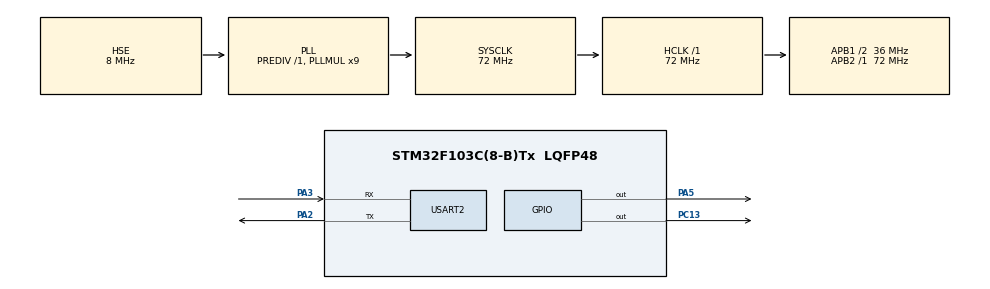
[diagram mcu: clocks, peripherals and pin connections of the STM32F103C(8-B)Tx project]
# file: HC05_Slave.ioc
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Mcu.Family=STM32F1
Mcu.Name=STM32F103C(8-B)Tx
Mcu.Package=LQFP48
NVIC.PriorityGroup=NVIC_PRIORITYGROUP_4
NVIC.TIM2_IRQn=true\:0\:0\:false\:false\:true\:true
NVIC.USART2_IRQn=true\:0\:0\:false\:false\:true\:true
PA13.Mode=Serial_Wire
PA13.Signal=SYS_JTMS-SWDIO
PA14.Mode=Serial_Wire
PA14.Signal=SYS_JTCK-SWCLK
PA2.Mode=Asynchronous
PA2.Signal=USART2_TX
PA3.Mode=Asynchronous
PA3.Signal=USART2_RX
PA5.Signal=GPIO_Output
PC13-TAMPER-RTC.Signal=GPIO_Output
PD0-OSC_IN.Mode=HSE-External-Oscillator
PD0-OSC_IN.Signal=RCC_OSC_IN
PD1-OSC_OUT.Mode=HSE-External-Oscillator
PD1-OSC_OUT.Signal=RCC_OSC_OUT
ProjectManager.HeapSize=0x400
ProjectManager.StackSize=0x800
ProjectManager.TargetToolchain=MDK-ARM V5
RCC.AHBFreq_Value=72000000
RCC.APB1CLKDivider=RCC_HCLK_DIV2
RCC.APB1Freq_Value=36000000
RCC.APB1TimFreq_Value=72000000
RCC.APB2Freq_Value=72000000
RCC.APB2TimFreq_Value=72000000
RCC.HCLKFreq_Value=72000000
RCC.PLLMUL=RCC_PLL_MUL9
RCC.PLLSourceVirtual=RCC_PLLSOURCE_HSE
RCC.SYSCLKFreq_VALUE=72000000
RCC.SYSCLKSource=RCC_SYSCLKSOURCE_PLLCLK
RCC.USBFreq_Value=72000000
TIM2.Period=4000
TIM2.Prescaler=35999
TIM2.TIM_MasterOutputTrigger=TIM_TRGO_UPDATE
USART2.VirtualMode=VM_ASYNC
VP_TIM2_VS_ClockSourceINT.Mode=Internal
board=HC05_Slave

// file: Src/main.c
/**
  ******************************************************************************
  * @file           : main.c
  * @brief          : Main program body
  ******************************************************************************
  ** This notice applies to any and all portions of this file
  * that are not between comment pairs USER CODE BEGIN and
  * USER CODE END. Other portions of this file, whether
  * inserted by the user or by software development tools
  * are owned by their respective copyright owners.
  *
  * COPYRIGHT(c) 2018 STMicroelectronics
  *
  * Redistribution and use in source and binary forms, with or without modification,
  * are permitted provided that the following conditions are met:
  *   1. Redistributions of source code must retain the above copyright notice,
  *      this list of conditions and the following disclaimer.
  *   2. Redistributions in binary form must reproduce the above copyright notice,
  *      this list of conditions and the following disclaimer in the documentation
  *      and/or other materials provided with the distribution.
  *   3. Neither the name of STMicroelectronics nor the names of its contributors
  *      may be used to endorse or promote products derived from this software
  *      without specific prior written permission.
  *
  * THIS SOFTWARE IS PROVIDED BY THE COPYRIGHT HOLDERS AND CONTRIBUTORS "AS IS"
  * AND ANY EXPRESS OR IMPLIED WARRANTIES, INCLUDING, BUT NOT LIMITED TO, THE
  * IMPLIED WARRANTIES OF MERCHANTABILITY AND FITNESS FOR A PARTICULAR PURPOSE ARE
  * DISCLAIMED. IN NO EVENT SHALL THE COPYRIGHT HOLDER OR CONTRIBUTORS BE LIABLE
  * FOR ANY DIRECT, INDIRECT, INCIDENTAL, SPECIAL, EXEMPLARY, OR CONSEQUENTIAL
  * DAMAGES (INCLUDING, BUT NOT LIMITED TO, PROCUREMENT OF SUBSTITUTE GOODS OR
  * SERVICES; LOSS OF USE, DATA, OR PROFITS; OR BUSINESS INTERRUPTION) HOWEVER
  * CAUSED AND ON ANY THEORY OF LIABILITY, WHETHER IN CONTRACT, STRICT LIABILITY,
  * OR TORT (INCLUDING NEGLIGENCE OR OTHERWISE) ARISING IN ANY WAY OUT OF THE USE
  * OF THIS SOFTWARE, EVEN IF ADVISED OF THE POSSIBILITY OF SUCH DAMAGE.
  *
  ******************************************************************************
  */
#include "main.h"
#include "stm32f1xx_hal.h"

TIM_HandleTypeDef htim2;

UART_HandleTypeDef huart2;

/* USER CODE BEGIN PV */
/* Private variables ---------------------------------------------------------*/
char str1[60]={0};
typedef struct
{
	uint8_t usart_buf[60];
	uint8_t usart_cnt;
	uint8_t is_tcp_connect;//статус проверки создания соединения
	uint8_t is_text;//статус попытки передать текст серверу
}USART_prop_ptr;

USART_prop_ptr usartprop;

uint8_t i=0;
char *str2[] =
{
  "String1\r\n",
  "String2\r\n",
  "String3\r\n",
  "String4\r\n",
  "String5\r\n"

};

/* USER CODE END PV */

void SystemClock_Config(void);
static void MX_GPIO_Init(void);
static void MX_USART2_UART_Init(void);
static void MX_TIM2_Init(void);

/* USER CODE BEGIN PFP */
/* Private function prototypes -----------------------------------------------*/

/* USER CODE END PFP */

/* USER CODE BEGIN 0 */
/***********************Функция парсинга строки**************/
void string_parse(char* buf_str)
{
  HAL_UART_Transmit(&huart2,(uint8_t*)buf_str,strlen(buf_str),0x1000);
  HAL_GPIO_TogglePin(GPIOC, GPIO_PIN_13);
}

/*******************Обработчик приема даннных*************/
void UART2_RxCpltCallback(void)
{
  uint8_t b;
  b = str1[0];
  //если вдруг случайно превысим длину буфера
  if (usartprop.usart_cnt>59)
  {
    usartprop.usart_cnt=0;//обнуляем счетчик байтов
    HAL_UART_Receive_IT(&huart2,(uint8_t*)str1,1);//прием данных
    return;
  }
  usartprop.usart_buf[usartprop.usart_cnt] = b;
  if(b==0x0A)
  {
    usartprop.usart_buf[usartprop.usart_cnt+1]=0;
    string_parse((char*)usartprop.usart_buf);//запускаем функцию парсинга принятой строки
    usartprop.usart_cnt=0;//обнуляем счетчик
    HAL_UART_Receive_IT(&huart2,(uint8_t*)str1,1);//Пнинимаем данные
    return;
  }
  usartprop.usart_cnt++;
  HAL_UART_Receive_IT(&huart2,(uint8_t*)str1,1);
}

/* USER CODE END 0 */

int main(void)
{

  /* MCU Configuration----------------------------------------------------------*/

  /* Reset of all peripherals, Initializes the Flash interface and the Systick. */
  HAL_Init();

  /* Configure the system clock */
  SystemClock_Config();

  /* Initialize all configured peripherals */
  MX_GPIO_Init();
  MX_USART2_UART_Init();
  MX_TIM2_Init();
  /* USER CODE BEGIN 2 */
	HAL_UART_Receive_IT(&huart2,(uint8_t*)str1,1);
	HAL_TIM_Base_Start_IT(&htim2);
  /* USER CODE END 2 */

  /* Infinite loop */
  /* USER CODE BEGIN WHILE */
  while (1)
  {

		char buf[20]="Hello World!!\r\n";
  /* USER CODE END WHILE */
		HAL_UART_Transmit(&huart2,(uint8_t*)buf,20,0x1000);
		HAL_Delay(1000);
  }

}

void SystemClock_Config(void)
{

  RCC_OscInitTypeDef RCC_OscInitStruct;
  RCC_ClkInitTypeDef RCC_ClkInitStruct;

    /**Initializes the CPU, AHB and APB busses clocks
    */
  RCC_OscInitStruct.OscillatorType = RCC_OSCILLATORTYPE_HSE;
  RCC_OscInitStruct.HSEState = RCC_HSE_ON;
  RCC_OscInitStruct.HSEPredivValue = RCC_HSE_PREDIV_DIV1;
  RCC_OscInitStruct.HSIState = RCC_HSI_ON;
  RCC_OscInitStruct.PLL.PLLState = RCC_PLL_ON;
  RCC_OscInitStruct.PLL.PLLSource = RCC_PLLSOURCE_HSE;
  RCC_OscInitStruct.PLL.PLLMUL = RCC_PLL_MUL9;
  if (HAL_RCC_OscConfig(&RCC_OscInitStruct) != HAL_OK)
  {
    _Error_Handler(__FILE__, __LINE__);
  }

    /**Initializes the CPU, AHB and APB busses clocks
    */
  RCC_ClkInitStruct.ClockType = RCC_CLOCKTYPE_HCLK|RCC_CLOCKTYPE_SYSCLK
                              |RCC_CLOCKTYPE_PCLK1|RCC_CLOCKTYPE_PCLK2;
  RCC_ClkInitStruct.SYSCLKSource = RCC_SYSCLKSOURCE_PLLCLK;
  RCC_ClkInitStruct.AHBCLKDivider = RCC_SYSCLK_DIV1;
  RCC_ClkInitStruct.APB1CLKDivider = RCC_HCLK_DIV2;
  RCC_ClkInitStruct.APB2CLKDivider = RCC_HCLK_DIV1;

  if (HAL_RCC_ClockConfig(&RCC_ClkInitStruct, FLASH_LATENCY_2) != HAL_OK)
  {
    _Error_Handler(__FILE__, __LINE__);
  }

    /**Configure the Systick interrupt time
    */
  HAL_SYSTICK_Config(HAL_RCC_GetHCLKFreq()/1000);

    /**Configure the Systick
    */
  HAL_SYSTICK_CLKSourceConfig(SYSTICK_CLKSOURCE_HCLK);

  /* SysTick_IRQn interrupt configuration */
  HAL_NVIC_SetPriority(SysTick_IRQn, 0, 0);
}

/* TIM2 init function */
static void MX_TIM2_Init(void)
{

  TIM_ClockConfigTypeDef sClockSourceConfig;
  TIM_MasterConfigTypeDef sMasterConfig;

  htim2.Instance = TIM2;
  htim2.Init.Prescaler = 35999;
  htim2.Init.CounterMode = TIM_COUNTERMODE_UP;
  htim2.Init.Period = 4000;
  htim2.Init.ClockDivision = TIM_CLOCKDIVISION_DIV1;
  htim2.Init.AutoReloadPreload = TIM_AUTORELOAD_PRELOAD_DISABLE;
  if (HAL_TIM_Base_Init(&htim2) != HAL_OK)
  {
    _Error_Handler(__FILE__, __LINE__);
  }

  sClockSourceConfig.ClockSource = TIM_CLOCKSOURCE_INTERNAL;
  if (HAL_TIM_ConfigClockSource(&htim2, &sClockSourceConfig) != HAL_OK)
  {
    _Error_Handler(__FILE__, __LINE__);
  }

  sMasterConfig.MasterOutputTrigger = TIM_TRGO_UPDATE;
  sMasterConfig.MasterSlaveMode = TIM_MASTERSLAVEMODE_DISABLE;
  if (HAL_TIMEx_MasterConfigSynchronization(&htim2, &sMasterConfig) != HAL_OK)
  {
    _Error_Handler(__FILE__, __LINE__);
  }

}

/* USART2 init function */
static void MX_USART2_UART_Init(void)
{

  huart2.Instance = USART2;
  huart2.Init.BaudRate = 9600;
  huart2.Init.WordLength = UART_WORDLENGTH_8B;
  huart2.Init.StopBits = UART_STOPBITS_1;
  huart2.Init.Parity = UART_PARITY_NONE;
  huart2.Init.Mode = UART_MODE_TX_RX;
  huart2.Init.HwFlowCtl = UART_HWCONTROL_NONE;
  huart2.Init.OverSampling = UART_OVERSAMPLING_16;
  if (HAL_UART_Init(&huart2) != HAL_OK)
  {
    _Error_Handler(__FILE__, __LINE__);
  }

}

/** Configure pins as
        * Analog
        * Input
        * Output
        * EVENT_OUT
        * EXTI
*/
static void MX_GPIO_Init(void)
{

  GPIO_InitTypeDef GPIO_InitStruct;

  /* GPIO Ports Clock Enable */
  __HAL_RCC_GPIOC_CLK_ENABLE();
  __HAL_RCC_GPIOD_CLK_ENABLE();
  __HAL_RCC_GPIOA_CLK_ENABLE();

  /*Configure GPIO pin Output Level */
  HAL_GPIO_WritePin(GPIOC, GPIO_PIN_13, GPIO_PIN_RESET);

  /*Configure GPIO pin Output Level */
  HAL_GPIO_WritePin(GPIOA, GPIO_PIN_5, GPIO_PIN_RESET);

  /*Configure GPIO pin : PC13 */
  GPIO_InitStruct.Pin = GPIO_PIN_13;
  GPIO_InitStruct.Mode = GPIO_MODE_OUTPUT_PP;
  GPIO_InitStruct.Speed = GPIO_SPEED_FREQ_LOW;
  HAL_GPIO_Init(GPIOC, &GPIO_InitStruct);

  /*Configure GPIO pin : PA5 */
  GPIO_InitStruct.Pin = GPIO_PIN_5;
  GPIO_InitStruct.Mode = GPIO_MODE_OUTPUT_PP;
  GPIO_InitStruct.Speed = GPIO_SPEED_FREQ_LOW;
  HAL_GPIO_Init(GPIOA, &GPIO_InitStruct);

}

/* USER CODE BEGIN 4 */
/**********************Обработчик прерываний UART***************/
void HAL_UART_RxCpltCallback(UART_HandleTypeDef *huart)
{
  if(huart==&huart2)
  {
    UART2_RxCpltCallback();
  }
}

void HAL_TIM_PeriodElapsedCallback(TIM_HandleTypeDef *htim)
{
	if(htim==&htim2)
	{
		HAL_GPIO_TogglePin(GPIOC,GPIO_PIN_13);
		HAL_UART_Transmit(&huart2,(uint8_t*)str2[i],strlen(str2[i]),0x1000);//посылаем массив строк
    i++;//счетчик для строк
    if(i>4)//проверка для индекса строк
    {
      i=0;
    }
	}
}
/* USER CODE END 4 */

void _Error_Handler(char *file, int line)
{
  while(1)
  {
  }
}

/************************ (C) COPYRIGHT STMicroelectronics *****END OF FILE****/
